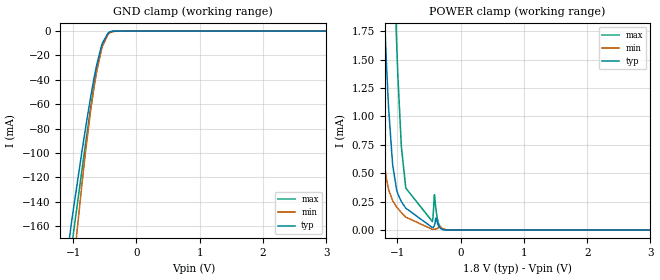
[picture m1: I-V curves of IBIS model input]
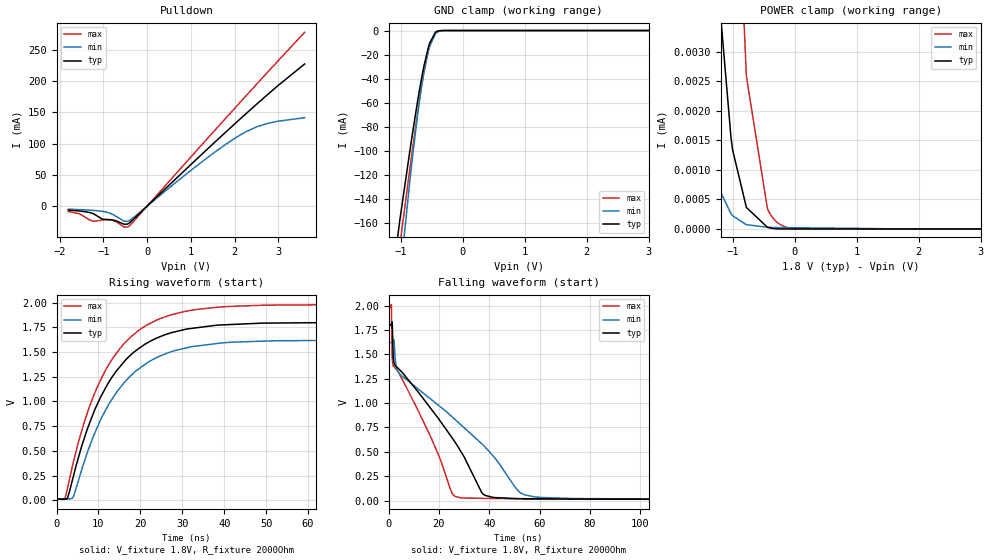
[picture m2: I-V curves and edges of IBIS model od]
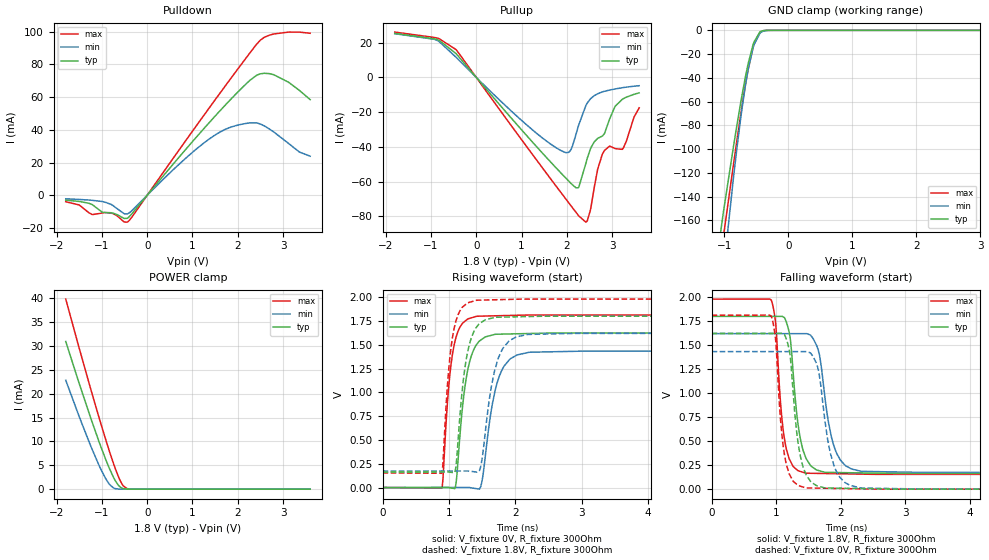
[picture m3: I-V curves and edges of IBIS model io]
|Texas Instruments Incorporated
| TAS2770 Digital Input Mono Class-D Audio Amplifier With Speaker IV Sense
[IBIS Ver]   4.1
[File name]   tas2770.ibs
[Date]   04/13/2017
[File Rev]   1.0
[Source]
| Texas Instruments Incorporated.
| Analog-eLab Design Center, HPA
| 12500 TI Blvd
| Dallas, TX -75243
[Notes]   Revision History:
| Rev 1.0: 04/13/2017
| - Initial version of the model
| - Model generated from simulations in SPECTRE
| - Model matched to SPICE simulation
| - Warnings regarding combined Non-monotonicity of various models have been
|   reviewd and considered minor and can be ignored.
| - C_comp although listed in numerical order of value are
|   obtained from varying PVT conditions. For PVT conditions for
|   each specific value refer the buffer description under
|   respective [Model]. IBIS model user is responsible for using
|   appropriate C_comp to simulate for Signal Integrity.
[Disclaimer]
| This model is designed as an aid for customers of Texas Instruments.
| TI and its licensors and suppliers make no warranties, either expressed
| or implied, with respect to this  model, including the warranties of
| merchantability or fitness for a particular purpose. The model is
| provided solely on an "as is" basis. The entire risk as to its quality
| and performance is with the customer.
[Copyright]
(C) Copyright 2016 Texas Instruments Incorporated.All rights reserved.
|   TAS2770
[Component]   TAS2770YFF
[Manufacturer]  TI
[Package]   |30 YFF
|   typ   min   max
R_pkg   0.1   0.08   0.12
L_pkg   1.0nH   0.8nH   1.2nH
C_pkg   0.2pF   0.16pF   0.24pF
[Pin]  signal_name model_name   R_pin   L_pin   C_pin
A1   VSNS_P   nc   NA   NA   NA
A2   BST_N   nc   NA   NA   NA
A3   OUT_P   nc   NA   NA   NA
A4   PGND   gnd   NA   NA   NA
A5   OUT_N   nc   NA   NA   NA
B1   VSNS_N   nc   NA   NA   NA
B2   BST_P   nc   NA   NA   NA
B3   OUT_P   nc   NA   NA   NA
B4   PGND   gnd   NA   NA   NA
B5   OUT_N   nc   NA   NA   NA
C1   AVDD   power   NA   NA   NA
C2   GND   gnd   NA   NA   NA
C3   SDZ   input   NA   NA   NA
C4   VBAT   power   NA   NA   NA
C5   VBAT   power   NA   NA   NA
D1   DREG   nc   NA   NA   NA
D2   IOVDD   power   NA   NA   NA
D3   MODE   nc   NA   NA   NA
D4   IRQZ   output   NA   NA   NA
D5   AREG   nc   NA   NA   NA
E1   SDOUT   io   NA   NA   NA
E2   FSYNC   input   NA   NA   NA
E3   GND   gnd   NA   NA   NA
E4   GND   gnd   NA   NA   NA
E5   PDMD   input   NA   NA   NA
F1   SBCLK   io   NA   NA   NA
F2   SDIN   io   NA   NA   NA
F3   SDA   od   NA   NA   NA
F4   SCL   od   NA   NA   NA
F5   PDMCK   io1   NA   NA   NA
[Component]   TAS2770RJQ
[Manufacturer]  TI
[Package]   |26 RJQ
|   typ   min   max
R_pkg   0.04181   0.02478   0.05004
L_pkg   1.03794nH   0.90966nH   1.23377nH
C_pkg   0.15178pF   0.13764pF   0.20084pF
[Pin]  signal_name model_name   R_pin   L_pin   C_pin
1   BST_N   nc   NA   NA   NA
2   PGND   gnd   NA   NA   NA
3   OUT_P   nc   NA   NA   NA
4   BST_P   nc   NA   NA   NA
5   VSNS_P   nc   NA   NA   NA
6   VSNS_N   nc   NA   NA   NA
7   DREG   nc   NA   NA   NA
8   IOVDD   power   NA   NA   NA
9   AVDD   power   NA   NA   NA
10   GND   gnd   NA   NA   NA
11   SDIN   io   NA   NA   NA
12   SDOUT   io   NA   NA   NA
13   SBCLK   io   NA   NA   NA
14   FSYNC   input   NA   NA   NA
15   GND   gnd   NA   NA   NA
16   GND   gnd   NA   NA   NA
17   PDMCK   io1   NA   NA   NA
18   PDMD   input   NA   NA   NA
19   MODE   nc   NA   NA   NA
20   IRQZ   output   NA   NA   NA
21   SDZ   input   NA   NA   NA
22   SDA   od   NA   NA   NA
23   SCL   od   NA   NA   NA
24   AREG   nc   NA   NA   NA
25   VBAT   power   NA   NA   NA
26   OUT_N   nc   NA   NA   NA
| Models and submodels in the file (5): input (Input), od (I/O_open_drain), io (I/O), io1 (I/O), output (3-state)
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|   input Model
[Model]   input
Model_type   Input
Vinl = 0.63
Vinh = 1.17
|   typ   min   max
C_comp   2.0028pF   2.0028pF   2.02143pF
[Model spec]
|subparameter
Vinl   0.63   0.567   0.693
Vinh   1.17   1.053   1.287
| Where nom  PVT is Nominal Process, 1.8V, 25C
|   Fast PVT is Strong Process,  1.98V, -40C
|   Slow PVT is Weak Process,   1.62V, 150C
[Voltage Range]   1.8   1.62   1.98
[Temperature Range]   25   150   -40
[Power Clamp Reference]   1.8   1.62   1.98
[GND Clamp Reference]   0   0   0
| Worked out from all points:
|   GND clamp passes 1 mA (typ) near -0.43 V on its own axis
|   POWER clamp passes 1 mA (typ) near -1.13 V on its own axis
[GND Clamp]
|   Voltage   I(typ)   I(min)   I(max)
-1.8V     -570.5mA   -641.7mA   -548.4mA
-1.055V   -168.5mA   -223.8mA   -188.6mA
-1.017V   -153.7mA   -204mA     -174.4mA
-860.4mV  -98.74mA   -125.4mA   -113.9mA
-801mV    -78.87mA   -97.94mA   -91.37mA
-730.8mV  -56.52mA   -68.23mA   -65.88mA
-671.4mV  -39.23mA   -46.41mA   -45.97mA
-628.2mV  -28.01mA   -32.96mA   -32.93mA
-552.6mV  -12.3mA    -15mA      -14.56mA
-433.8mV  -1.035mA   -1.915mA   -1.351mA
-266.4mV  -2.552uA   -27.08uA   -1.091uA
3.6V      0A         0A         0A
[POWER Clamp]
|   Voltage   I(typ)   I(min)   I(max)
-1.8V     15.04mA    11.45mA    21.47mA
-1.341V   4.269mA    1.947mA    8.515mA
-1.206V   1.942mA    601.2uA    5.557mA
-1.076V   594.7uA    261.7uA    2.825mA
-1.012V   357.6uA    203.5uA    1.67mA
-936mV    249.6uA    153.3uA    736.7uA
-865.8mV  192.2uA    113.1uA    369uA
-444.6mV  20.67uA    4.645uA    73.72uA
-412.2mV  43.63uA    7.781uA    310.6uA
-352.8mV  42.07uA    18.44uA    67.21uA
-261mV    1.93uA     6.917uA    2.407uA
3.6V      0A         0A         0A
|   od Model
[Model]   od
Model_type   I/O_open_drain
Polarity   Non-Inverting
Enable   Active-Low
Vinl = 0.54
Vinh = 1.26
Vmeas = 0.9
Vref = 1.8
Cref = 2pF
Rref = 2000
|   typ   min   max
C_comp   1.94823pF   1.92149pF   2.00282pF
|C_comp_pulldown   1.65059pF   1.63546pF   1.72042pF
[Model spec]
|subparameter
Vinl   0.54   0.486   0.594
Vinh   1.26   1.134   1.386
| Where nom  PVT is Nominal Process, 1.8V, 25C
|   Fast PVT is Strong Process,  1.98V, -40C
|   Slow PVT is Weak Process,   1.62V, 150C
[Voltage Range]   1.8   1.62   1.98
[Temperature Range]   25   150   -40
[Pullup Reference]   1.8   1.62   1.98
[Pulldown Reference]   -0   -0   0
[Power Clamp Reference]   1.8   1.62   1.98
[GND Clamp Reference]   0   0   0
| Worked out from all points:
|   slope of the pulldown table from 0 to 0.27 V, typ, clamps not added: 14.9 ohm
|   GND clamp passes 1 mA (typ) near -0.43 V on its own axis
|   falling waveform, V_fixture 1.8V, R_fixture 2000Ohm: 20-80 % time 29.5ns typ, 40.6ns min, 19.4ns max; typ from 1.8 V to 0.013 V
|   rising waveform, V_fixture 1.8V, R_fixture 2000Ohm: 20-80 % time 12.2ns typ, 12.5ns min, 12ns max; typ from 0.013 V to 1.8 V
[Pulldown]
|   Voltage   I(typ)   I(min)   I(max)
-1.8V     -6.29mA    -4.826mA   -8.427mA
-1.541V   -7.668mA   -5.563mA   -12.23mA
-1.249V   -11.53mA   -6.669mA   -23.68mA
-963mV    -21.27mA   -8.954mA   -21.52mA
-779.4mV  -22.15mA   -13.31mA   -22.98mA
-520.2mV  -28.99mA   -24.1mA    -33.55mA
-423mV    -27.69mA   -23.7mA    -32.4mA
1.235V    81.88mA    69.88mA    96.88mA
2.142V    140.3mA    114.3mA    167.2mA
2.509V    163.3mA    127mA      195.4mA
2.774V    179.6mA    132.6mA    215.6mA
3.6V      227.2mA    141.3mA    277.8mA
[GND Clamp]
|   Voltage   I(typ)   I(min)   I(max)
-1.8V     -572mA     -642.9mA   -550.6mA
-1.066V   -175.9mA   -230.7mA   -196.3mA
-1.017V   -156.8mA   -205.2mA   -177.7mA
-860.4mV  -101.2mA   -126.7mA   -116.2mA
-806.4mV  -82.81mA   -101.6mA   -95.45mA
-730.8mV  -58.32mA   -69.54mA   -67.62mA
-682.2mV  -43.78mA   -51.41mA   -50.98mA
-633.6mV  -30.63mA   -35.74mA   -35.8mA
-536.4mV  -10.43mA   -12.9mA    -12.35mA
-428.4mV  -986.8uA   -1.888mA   -1.287mA
-223.2mV  -511.2nA   -9.212uA   -127.6nA
3.6V      0A         0A         0A
[POWER Clamp]
|   Voltage   I(typ)   I(min)   I(max)
-1.8V     48.55uA    11.21uA    190.7uA
-1.541V   17.31uA    3.538uA    76.18uA
-1.384V   8.741uA    1.654uA    41.57uA
-1.265V   5.029uA    899.2nA    25.5uA
-1.19V    3.477uA    602.5nA    18.42uA
-1.033V   1.545uA    257.8nA    9.036uA
-1.012V   1.374uA    229.2nA    8.154uA
-784.8mV  364.7nA    72.52nA    2.588uA
-444.6mV  27.93nA    27.85nA    342.4nA
-217.8mV  0A         22.91nA    63.69nA
41.4mV    0A         20.01nA    0A
3.6V      0A         0A         0A
[Ramp]
R_load = 2000
|   typ   min   max
dV/dt_r   1.07201/1.22187e-08   0.963748/1.24948e-08   1.1805/1.20499e-08
dV/dt_f   1.07201/2.95907e-08   0.963748/4.07129e-08   1.1805/1.94226e-08
[Falling Waveform]
V_fixture = 1.8V
V_fixture_min = 1.62V
V_fixture_max = 1.98V
R_fixture = 2000Ohm
C_fixture = 0F
|   Time   V(typ)   V(min)   V(max)
0s        1.8V       1.62V      1.98V
1.083ns   1.803V     1.62V      2.008V
1.394ns   1.831V     1.62V      1.501V
1.785ns   1.516V     1.646V     1.384V
2.994ns   1.376V     1.377V     1.347V
4.558ns   1.336V     1.294V     1.282V
26.32ns   600.7mV    832.6mV    43.86mV
38.28ns   52.85mV    548.8mV    22.28mV
57.95ns   18.11mV    38.07mV    14.69mV
200ns     13.32mV    13.69mV    12.47mV
[Rising Waveform]
V_fixture = 1.8V
V_fixture_min = 1.62V
V_fixture_max = 1.98V
R_fixture = 2000Ohm
C_fixture = 0F
|   Time   V(typ)   V(min)   V(max)
0s        13.32mV    13.69mV    12.47mV
1.985ns   13.21mV    14.67mV    16.84mV
2.633ns   24.87mV    14.99mV    127.7mV
3.96ns    233.3mV    32.16mV    377.5mV
8.143ns   809.4mV    574.7mV    979.7mV
13.57ns   1.267V     1.045V     1.446V
21.75ns   1.594V     1.394V     1.777V
30.2ns    1.724V     1.534V     1.906V
52.26ns   1.793V     1.613V     1.974V
200ns     1.8V       1.62V      1.98V
|   io Model
[Model]   io
Model_type   I/O
Polarity   Non-Inverting
Enable   Active-Low
Vinl = 0.63
Vinh = 1.17
Vmeas = 0.9
Vref = 0
Cref = 2pF
Rref = 100000
|   typ   min   max
C_comp   2.13631pF   2.13619pF   2.14603pF
|C_comp_pullup   1.7601pF   1.72042pF   1.83873pF
|C_comp_pulldown   1.68908pF   1.6506pF   1.78523pF
[Model spec]
|subparameter
Vinl   0.63   0.567   0.693
Vinh   1.17   1.053   1.287
| Where nom  PVT is Nominal Process, 1.8V, 25C
|   Fast PVT is Strong Process,  1.98V, -40C
|   Slow PVT is Weak Process,   1.62V, 150C
[Voltage Range]   1.8   1.62   1.98
[Temperature Range]   25   150   -40
[Pullup Reference]   1.8   1.62   1.98
[Pulldown Reference]   -0   0   0
[Power Clamp Reference]   1.8   1.62   1.98
[GND Clamp Reference]   0   0   0
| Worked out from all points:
|   slope of the pulldown table from 0 to 0.27 V, typ, clamps not added: 30 ohm
|   slope of the pullup table from 0 to 0.27 V, typ, clamps not added: 32.8 ohm
|   GND clamp passes 1 mA (typ) near -0.43 V on its own axis
|   POWER clamp passes 1 mA (typ) near -0.65 V on its own axis
|   falling waveform, V_fixture 1.8V, R_fixture 300Ohm: 20-80 % time 153ps typ, 202ps min, 125ps max; typ from 1.8 V to 0.163 V
|   rising waveform, V_fixture 0V, R_fixture 300Ohm: 20-80 % time 162ps typ, 207ps min, 134ps max; typ from 0 V to 1.62 V
|   rising waveform, V_fixture 1.8V, R_fixture 300Ohm: 20-80 % time 160ps typ, 202ps min, 133ps max; typ from 0.163 V to 1.8 V
|   falling waveform, V_fixture 0V, R_fixture 300Ohm: 20-80 % time 152ps typ, 200ps min, 125ps max; typ from 1.62 V to 0 V
[Pulldown]
|   Voltage   I(typ)   I(min)   I(max)
-1.8V     -3.053mA   -2.198mA   -4mA
-1.503V   -3.818mA   -2.596mA   -5.974mA
-1.211V   -5.803mA   -3.135mA   -11.85mA
-936mV    -10.62mA   -4.223mA   -10.63mA
-757.8mV  -10.98mA   -6.301mA   -11.27mA
-444.6mV  -14.17mA   -11.51mA   -16.52mA
1.391V    45.08mA    34.81mA    54.23mA
1.877V    59.59mA    41.93mA    72.61mA
2.417V    73.42mA    44.27mA    92.41mA
2.795V    73.74mA    38.69mA    98.66mA
3.362V    64.12mA    26.39mA    99.79mA
3.6V      58.49mA    23.87mA    99.09mA
[GND Clamp]
|   Voltage   I(typ)   I(min)   I(max)
-1.8V     -570.6mA   -641.8mA   -548.5mA
-1.055V   -168.6mA   -223.9mA   -188.7mA
-1.017V   -153.8mA   -204.1mA   -174.5mA
-860.4mV  -98.79mA   -125.5mA   -114mA
-801mV    -78.9mA    -97.98mA   -91.4mA
-730.8mV  -56.53mA   -68.26mA   -65.89mA
-676.8mV  -40.72mA   -48.26mA   -47.7mA
-633.6mV  -29.33mA   -34.53mA   -34.47mA
-536.4mV  -9.717mA   -12.1mA    -11.55mA
-433.8mV  -1.027mA   -1.902mA   -1.341mA
-261mV    -2.039uA   -23.11uA   -823.2nA
3.6V      0A         0A         0A
[Pullup]
|   Voltage   I(typ)   I(min)   I(max)
-1.8V     25.3mA     25.15mA    26.07mA
-919.8mV  22.18mA    21.9mA     22.97mA
-444.6mV  13.67mA    11.56mA    15.97mA
1.958V    -57.35mA   -43.09mA   -69.23mA
2.099V    -61.1mA    -41.14mA   -74.03mA
2.25V     -63.47mA   -28.59mA   -79.17mA
2.423V    -49.38mA   -16.12mA   -83.28mA
2.52V     -41.34mA   -12.44mA   -76.59mA
2.606V    -37.1mA    -10.51mA   -63.37mA
2.785V    -33.73mA   -8.36mA    -44.28mA
3.227V    -12.59mA   -5.931mA   -41.38mA
3.6V      -8.893mA   -4.777mA   -17.51mA
[POWER Clamp]
|   Voltage   I(typ)   I(min)   I(max)
-1.8V     30.93mA    22.83mA    39.83mA
-1.519V   22.62mA    15.61mA    30.09mA
-1.271V   15.53mA    9.57mA     21.72mA
-1.076V   10.26mA    5.236mA    15.38mA
-925.2mV  6.426mA    2.344mA    10.63mA
-828mV    4.177mA    941uA      7.722mA
-703.8mV  1.757mA    107.2uA    4.272mA
-601.2mV  476.8uA    9.248uA    1.872mA
-525.6mV  101.7uA    1.379uA    655.1uA
-444.6mV  10.84uA    180nA      113uA
-336.6mV  274.2nA    26.35nA    4.892uA
3.6V      0A         0A         0A
[Ramp]
R_load = 300
|   typ   min   max
dV/dt_r   0.973793/1.61735e-10   0.859989/2.05896e-10   1.08745/1.33633e-10
dV/dt_f   0.98214/1.51837e-10   0.86783/2.00934e-10   1.09566/1.24464e-10
[Falling Waveform]
V_fixture = 1.8V
V_fixture_min = 1.62V
V_fixture_max = 1.98V
R_fixture = 300Ohm
C_fixture = 0F
|   Time   V(typ)   V(min)   V(max)
0s        1.8V       1.62V      1.98V
924.6ps   1.8V       1.62V      1.97V
993.8ps   1.8V       1.62V      1.722V
1.072ns   1.8V       1.62V      869.1mV
1.145ns   1.765V     1.62V      464mV
1.454ns   338.9mV    1.62V      167.8mV
1.651ns   195.5mV    1.454V     164.1mV
1.929ns   173.5mV    388.3mV    161mV
2.306ns   169.5mV    187.9mV    156.8mV
16.67ns   163.1mV    173.6mV    153.9mV
[Rising Waveform]
V_fixture = 0V
V_fixture_min = 0V
V_fixture_max = 0V
R_fixture = 300Ohm
C_fixture = 0F
|   Time   V(typ)   V(min)   V(max)
0s        8.816uV    9.415uV    8.94uV
892ps     564.7uV    439uV      -4.623mV
995.9ps   83.86uV    489uV      1.056V
1.088ns   -10.22mV   533.6uV    1.527V
1.241ns   1.058V     606.8uV    1.747V
1.412ns   1.498V     -11.66mV   1.798V
1.494ns   1.556V     52.32mV    1.801V
1.764ns   1.611V     1.18V      1.805V
2.196ns   1.618V     1.419V     1.812V
16.67ns   1.623V     1.433V     1.812V
[Rising Waveform]
V_fixture = 1.8V
V_fixture_min = 1.62V
V_fixture_max = 1.98V
R_fixture = 300Ohm
C_fixture = 0F
|   Time   V(typ)   V(min)   V(max)
0s        163.1mV    173.6mV    153.9mV
890.6ps   163.6mV    173.9mV    150mV
993.8ps   163.1mV    173.9mV    1.22V
1.084ns   155.4mV    174mV      1.69V
1.237ns   1.242V     174mV      1.915V
1.412ns   1.682V     163.1mV    1.967V
1.484ns   1.733V     240mV      1.969V
1.743ns   1.789V     1.358V     1.974V
2.171ns   1.796V     1.607V     1.98V
16.67ns   1.8V       1.62V      1.98V
[Falling Waveform]
|Gnd
V_fixture = 0V
V_fixture_min = 0V
V_fixture_max = 0V
R_fixture = 300Ohm
C_fixture = 0F
|   Time   V(typ)   V(min)   V(max)
0s        1.623V     1.433V     1.812V
924.6ps   1.623V     1.433V     1.803V
990.9ps   1.623V     1.433V     1.567V
1.145ns   1.588V     1.433V     303.1mV
1.335ns   510.5mV    1.433V     41.99mV
1.454ns   168.9mV    1.433V     14.43mV
1.641ns   34.05mV    1.278V     10.79mV
1.913ns   10.89mV    215.9mV    7.635mV
2.306ns   6.641mV    13.63mV    3.086mV
16.67ns   16.65uV    23.2uV     13.81uV
